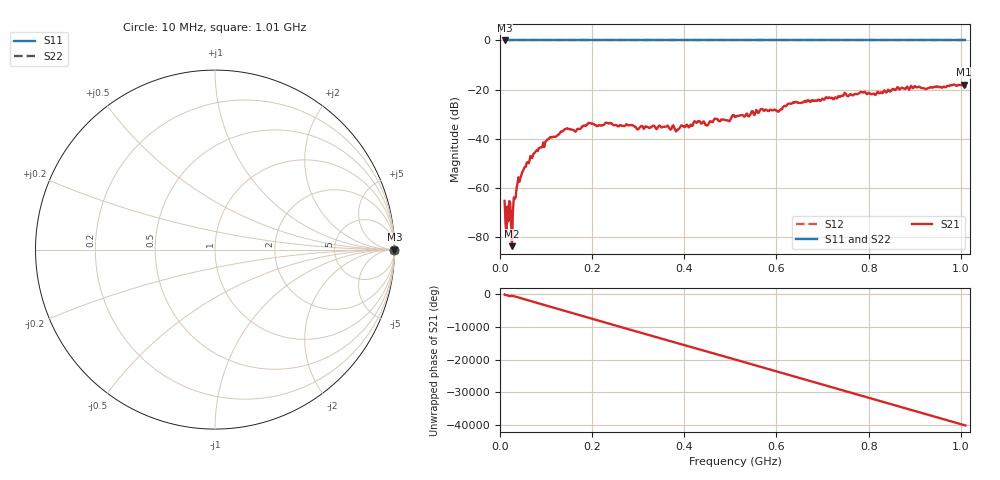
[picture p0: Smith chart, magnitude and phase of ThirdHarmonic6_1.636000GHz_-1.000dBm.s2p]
! 8/16/2025 7:34:00 PM
! C:\ANRITSUVNA\TEMP\TEMP.S2P
! CHANNEL.1
! TR.MEASUREMENT
! RAW.DATA
! RF.CORRECTION.OFF
! AVERAGING.OFF
! IF.BANDWIDTH: 5KHZ
! SWEEPTYPE:  FREQ.SWEEP(Linear)
! Reference Plane Port Info
! PORT:  PORT1  PORT2
! DISTANCE:  0  m  0  m
! TIME:  0  s  0  s
! PHASE.OFFSET:  0  deg.  0  deg.
! LOSS:  0  dB  0  dB
! REF.LOSS:  0  dB  0  dB
! REF.FREQ:  0  Hz  0  Hz
! Power Info
! POWER:  -20  dBm  -20  dBm
! EFF.POWER:  -20  dBm  -20  dBm
! SOURCE.ATTEN:  0  dB  0  dB
! TEST.ATTEN:  0  dB  0  dB
# GHZ S RI R 50.0
! FREQ.GHZ  S11RE  S11IM  S21RE  S21IM  S12RE  S12IM  S22RE  S22IM
!; PortSelection: Port_12
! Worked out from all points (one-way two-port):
!   501 points, 10 MHz to 1.01 GHz, reference 50 ohm
!   highest |S21| = -17.97 dB at 1.006 GHz (marker M1); lowest = -83.9 dB at 26 MHz (marker M2)
!   lowest |S11| = 0.0 dB at 10 MHz (marker M3)
!   |S11| at or under -10 dB: nowhere
!   |S22| runs from 0.0 to 0.0 dB; largest |S21 - S12| = 1.1
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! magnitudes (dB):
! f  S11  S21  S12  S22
! 10 MHz  0.0  -65.4  0.0  0.0
! 14 MHz  0.0  -79.0  0.0  0.0
! 20 MHz  0.0  -65.5  0.0  0.0
! 22 MHz  0.0  -65.9  0.0  0.0
! 26 MHz  0.0  -83.9  0.0  0.0
! 28 MHz  0.0  -69.8  0.0  0.0
! 34 MHz  0.0  -63.9  0.0  0.0
! 42 MHz  0.0  -57.6  0.0  0.0
! 76 MHz  0.0  -45.7  0.0  0.0
! 142 MHz  0.0  -36.2  0.0  0.0
! 178 MHz  0.0  -35.1  0.0  0.0
! 234 MHz  0.0  -33.7  0.0  0.0
! 344 MHz  0.0  -35.0  0.0  0.0
! 384 MHz  0.0  -36.7  0.0  0.0
! 426 MHz  0.0  -33.6  0.0  0.0
! 450 MHz  0.0  -34.7  0.0  0.0
! 510 MHz  0.0  -31.2  0.0  0.0
! 604 MHz  0.0  -29.1  0.0  0.0
! 678 MHz  0.0  -24.3  0.0  0.0
! 844 MHz  0.0  -20.2  0.0  0.0
! 1.006 GHz  0.0  -18.0  0.0  0.0
! 1.01 GHz  0.0  -18.8  0.0  0.0
